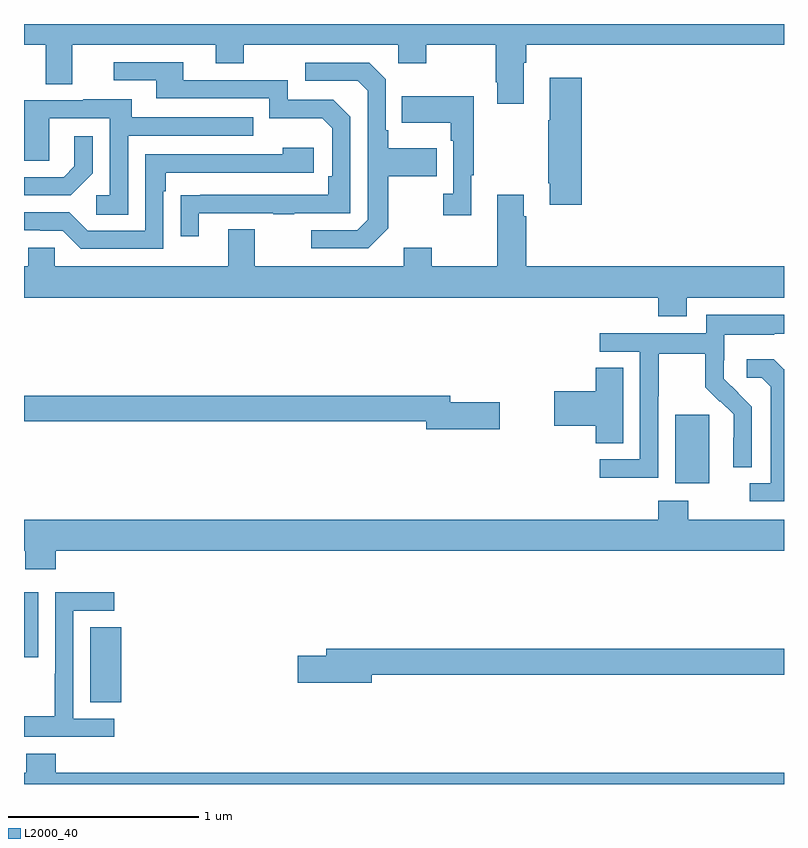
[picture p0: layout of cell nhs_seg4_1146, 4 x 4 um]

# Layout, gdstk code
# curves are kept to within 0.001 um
import gdstk
lib = gdstk.Library(unit=1e-6, precision=1e-09)
def R(c, l, rs):  # rectangles x0, y0, x1, y1
    for r in rs: c.add(gdstk.rectangle(r[:2], r[2:], *l))
def P(c, l, *ps):  # polygons
    for p in ps: c.add(gdstk.Polygon(p, *l))
L2000_40 = (2000, 40)

nhs_seg4_1146 = lib.new_cell('nhs_seg4_1146')
R(nhs_seg4_1146, L2000_40, [(169.349,821.329,169.513,821.726), (169,821.568,169.075,821.908), (172.427,822.482,172.606,822.843)])
P(nhs_seg4_1146, L2000_40, [(171.631,824.696),(171.644,824.696),(171.644,824.792),(173,824.792),(173,824.9),(169,824.9),(169,824.792),(169.115,824.792),(169.115,824.584),(169.255,824.584),(169.255,824.792),(170.009,824.792),(170.009,824.693),(170.157,824.693),(170.157,824.792),(170.97,824.792),(170.97,824.693),(171.117,824.693),(171.117,824.792),(171.484,824.792),(171.484,824.593),(171.491,824.593),(171.491,824.481),(171.631,824.481)],
  [(169.921,823.905),(170.311,823.905),(170.311,823.9),(170.423,823.9),(170.423,823.905),(170.718,823.905),(170.718,824.412),(170.628,824.502),(170.388,824.502),(170.388,824.604),(169.837,824.604),(169.837,824.7),(169.473,824.7),(169.473,824.604),(169.697,824.604),(169.697,824.508),(170.292,824.508),(170.292,824.405),(170.569,824.405),(170.622,824.352),(170.622,824.098),(170.602,824.098),(170.602,824.001),(169.825,824),(169.825,823.782),(169.921,823.782)],
  [(170.917,823.825),(170.917,824.098),(171.173,824.098),(171.173,824.245),(170.917,824.245),(170.917,824.341),(170.904,824.341),(170.904,824.61),(170.817,824.697),(170.481,824.697),(170.481,824.601),(170.757,824.601),(170.808,824.55),(170.808,823.869),(170.754,823.815),(170.511,823.815),(170.511,823.719),(170.811,823.719)],
  [(171.935,824.617),(171.767,824.617),(171.767,824.393),(171.76,824.393),(171.76,824.062),(171.767,824.062),(171.767,823.95),(171.935,823.95)],
  [(171.355,824.105),(171.367,824.105),(171.367,824.521),(170.989,824.521),(170.989,824.381),(171.246,824.381),(171.246,824.285),(171.258,824.285),(171.258,824.006),(171.207,824.006),(171.207,823.893),(171.355,823.893)],
  [(169.548,824.313),(170.207,824.313),(170.207,824.409),(169.567,824.409),(169.567,824.503),(169.313,824.503),(169.313,824.499),(169,824.499),(169,824.179),(169.134,824.179),(169.134,824.403),(169.452,824.403),(169.452,823.998),(169.38,823.998),(169.38,823.897),(169.548,823.897)],
  [(169.362,824.114),(169.362,824.308),(169.265,824.308),(169.265,824.151),(169.208,824.094),(169,824.094),(169,823.998),(169.246,823.998)],
  [(169.734,824.021),(169.747,824.021),(169.747,824.118),(170.524,824.118),(170.524,824.248),(170.363,824.248),(170.363,824.214),(169.638,824.214),(169.638,823.812),(169.335,823.812),(169.239,823.908),(169,823.908),(169,823.815),(169.085,823.815),(169.085,823.812),(169.203,823.812),(169.299,823.716),(169.734,823.716)],
  [(172.489,823.46),(173,823.46),(173,823.624),(171.644,823.624),(171.644,823.889),(171.631,823.889),(171.631,824.002),(171.491,824.002),(171.491,823.624),(171.147,823.624),(171.147,823.723),(170.999,823.723),(170.999,823.624),(170.215,823.624),(170.215,823.819),(170.075,823.819),(170.075,823.624),(169.161,823.624),(169.161,823.722),(169.023,823.722),(169.023,823.624),(169,823.624),(169,823.46),(172.337,823.46),(172.337,823.361),(172.489,823.361)],
  [(172.338,822.94),(172.341,822.94),(172.341,823.164),(172.585,823.164),(172.585,822.989),(172.662,822.912),(172.665,822.915),(172.736,822.845),(172.736,822.722),(172.734,822.722),(172.734,822.568),(172.83,822.568),(172.83,822.886),(172.684,823.034),(172.684,823.131),(172.686,823.131),(172.686,823.265),(172.949,823.265),(172.949,823.269),(173,823.269),(173,823.369),(172.59,823.369),(172.59,823.272),(172.029,823.272),(172.029,823.176),(172.242,823.176),(172.242,822.609),(172.029,822.609),(172.029,822.511),(172.338,822.511)],
  [(173,823.083),(172.998,823.083),(172.946,823.135),(172.803,823.135),(172.803,823.038),(172.884,823.038),(172.931,822.991),(172.931,822.483),(172.821,822.483),(172.821,822.387),(173,822.387)],
  [(172.153,823.091),(172.01,823.091),(172.01,822.968),(171.792,822.968),(171.792,822.785),(172.01,822.785),(172.01,822.694),(172.153,822.694)],
  [(171.505,822.908),(171.244,822.908),(171.244,822.944),(169,822.944),(169,822.808),(171.116,822.808),(171.116,822.766),(171.505,822.766)],
  [(169.166,822.128),(173,822.128),(173,822.292),(172.497,822.292),(172.497,822.391),(172.337,822.391),(172.337,822.292),(169,822.292),(169,822.128),(169.006,822.128),(169.006,822.029),(169.166,822.029)],
  [(169.474,821.244),(169.26,821.244),(169.26,821.811),(169.474,821.811),(169.474,821.91),(169.164,821.91),(169.164,821.48),(169.162,821.48),(169.162,821.257),(169,821.257),(169,821.148),(169.474,821.148)],
  [(170.83,821.476),(173,821.476),(173,821.612),(170.591,821.612),(170.591,821.576),(170.442,821.576),(170.442,821.434),(170.83,821.434)],
  [(173,820.96),(169.166,820.96),(169.166,821.059),(169.013,821.059),(169.013,820.96),(169,820.96),(169,820.9),(173,820.9)])

lib.write_gds('nhs_seg4_1146.gds')
